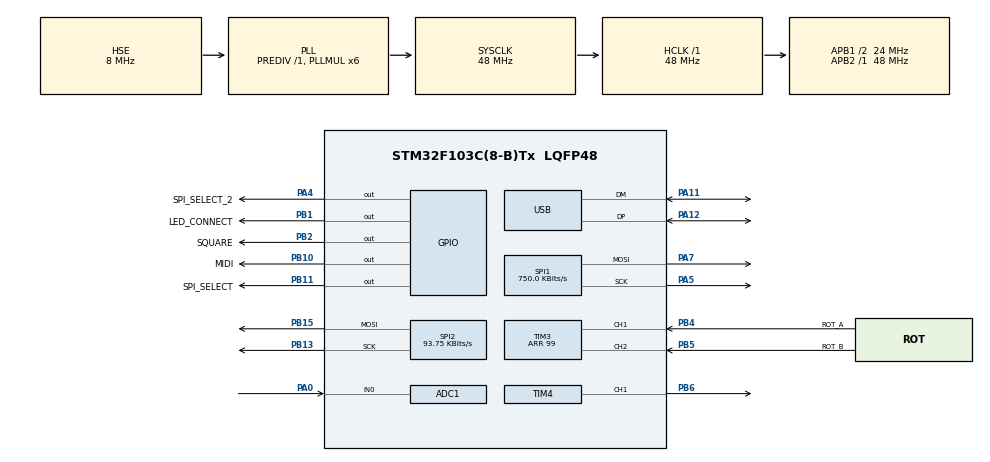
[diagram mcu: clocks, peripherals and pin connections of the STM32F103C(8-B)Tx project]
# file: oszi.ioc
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ADC1.Channel-0\#ChannelRegularConversion=ADC_CHANNEL_0
ADC1.NbrOfConversionFlag=1
ADC1.Rank-0\#ChannelRegularConversion=1
ADC1.SamplingTime-0\#ChannelRegularConversion=ADC_SAMPLETIME_1CYCLE_5
ADC1.master=1
Mcu.Family=STM32F1
Mcu.Name=STM32F103C(8-B)Tx
Mcu.Package=LQFP48
NVIC.ADC1_2_IRQn=true\:0\:0\:false\:false\:true\:true\:true\:true
NVIC.PriorityGroup=NVIC_PRIORITYGROUP_4
NVIC.TIM2_IRQn=true\:0\:0\:false\:false\:true\:true\:true\:true
NVIC.TIM3_IRQn=true\:0\:0\:false\:false\:true\:true\:true\:true
NVIC.USB_LP_CAN1_RX0_IRQn=true\:0\:0\:false\:false\:true\:false\:true\:true
PA0-WKUP.Signal=ADCx_IN0
PA11.Mode=Device
PA11.Signal=USB_DM
PA12.Mode=Device
PA12.Signal=USB_DP
PA13.Mode=Serial_Wire
PA13.Signal=SYS_JTMS-SWDIO
PA14.Mode=Serial_Wire
PA14.Signal=SYS_JTCK-SWCLK
PA4.GPIO_Label=SPI_SELECT_2
PA4.GPIO_PuPd=GPIO_PULLUP
PA4.Signal=GPIO_Output
PA5.Mode=TX_Only_Simplex_Unidirect_Master
PA5.Signal=SPI1_SCK
PA7.Mode=TX_Only_Simplex_Unidirect_Master
PA7.Signal=SPI1_MOSI
PB1.GPIO_Label=LED_CONNECT
PB1.Signal=GPIO_Output
PB10.GPIO_Label=MIDI
PB10.Signal=GPIO_Output
PB11.GPIO_Label=SPI_SELECT
PB11.GPIO_PuPd=GPIO_PULLUP
PB11.PinState=GPIO_PIN_SET
PB11.Signal=GPIO_Output
PB13.Mode=TX_Only_Simplex_Unidirect_Master
PB13.Signal=SPI2_SCK
PB15.Mode=TX_Only_Simplex_Unidirect_Master
PB15.Signal=SPI2_MOSI
PB2.GPIO_Label=SQUARE
PB2.GPIO_PuPd=GPIO_PULLDOWN
PB2.GPIO_Speed=GPIO_SPEED_FREQ_HIGH
PB2.Signal=GPIO_Output
PB4.GPIO_Label=ROT_A
PB4.Signal=S_TIM3_CH1
PB5.GPIO_Label=ROT_B
PB5.Signal=S_TIM3_CH2
PB6.Signal=S_TIM4_CH1
PC14-OSC32_IN.Mode=LSE-External-Oscillator
PC14-OSC32_IN.Signal=RCC_OSC32_IN
PC15-OSC32_OUT.Mode=LSE-External-Oscillator
PC15-OSC32_OUT.Signal=RCC_OSC32_OUT
PD0-OSC_IN.Mode=HSE-External-Oscillator
PD0-OSC_IN.Signal=RCC_OSC_IN
PD1-OSC_OUT.Mode=HSE-External-Oscillator
PD1-OSC_OUT.Signal=RCC_OSC_OUT
ProjectManager.HeapSize=0x200
ProjectManager.StackSize=0x400
ProjectManager.TargetToolchain=Makefile
RCC.ADCPresc=RCC_ADCPCLK2_DIV4
RCC.AHBFreq_Value=48000000
RCC.APB1CLKDivider=RCC_HCLK_DIV2
RCC.APB1Freq_Value=24000000
RCC.APB1TimFreq_Value=48000000
RCC.APB2Freq_Value=48000000
RCC.APB2TimFreq_Value=48000000
RCC.HCLKFreq_Value=48000000
RCC.PLLMUL=RCC_PLL_MUL6
RCC.SYSCLKFreq_VALUE=48000000
RCC.SYSCLKSource=RCC_SYSCLKSOURCE_PLLCLK
RCC.USBFreq_Value=48000000
SH.ADCx_IN0.0=ADC1_IN0,IN0
SH.S_TIM3_CH1.0=TIM3_CH1,Encoder_Interface
SH.S_TIM3_CH2.0=TIM3_CH2,Encoder_Interface
SH.S_TIM4_CH1.0=TIM4_CH1,PWM Generation1 CH1
SPI1.BaudRatePrescaler=SPI_BAUDRATEPRESCALER_64
SPI1.CalculateBaudRate=750.0 KBits/s
SPI1.DataSize=SPI_DATASIZE_16BIT
SPI1.Direction=SPI_DIRECTION_2LINES
SPI1.Mode=SPI_MODE_MASTER
SPI1.VirtualType=VM_MASTER
SPI2.BaudRatePrescaler=SPI_BAUDRATEPRESCALER_256
SPI2.CLKPolarity=SPI_POLARITY_HIGH
SPI2.CalculateBaudRate=93.75 KBits/s
SPI2.DataSize=SPI_DATASIZE_8BIT
SPI2.Direction=SPI_DIRECTION_2LINES
SPI2.Mode=SPI_MODE_MASTER
SPI2.VirtualType=VM_MASTER
TIM2.AutoReloadPreload=TIM_AUTORELOAD_PRELOAD_ENABLE
TIM2.Period=1000
TIM2.Prescaler=48
TIM3.Period=99
TIM4.AutoReloadPreload=TIM_AUTORELOAD_PRELOAD_ENABLE
TIM4.Channel-PWM\ Generation1\ CH1=TIM_CHANNEL_1
TIM4.OCFastMode_PWM-PWM\ Generation1\ CH1=TIM_OCFAST_ENABLE
TIM4.Period=1136 -1
TIM4.Prescaler=96 - 1
TIM4.Pulse-PWM\ Generation1\ CH1=10
TIM4.TIM_MasterOutputTrigger=TIM_TRGO_UPDATE
USB_DEVICE.CLASS_NAME_FS=CDC
USB_DEVICE.MANUFACTURER_STRING=elektrophon
USB_DEVICE.PRODUCT_STRING_CDC_FS=oszillator
USB_DEVICE.VirtualMode=Cdc
USB_DEVICE.VirtualModeFS=Cdc_FS
VP_TIM2_VS_ClockSourceINT.Mode=Internal
VP_TIM4_VS_ClockSourceINT.Mode=Internal
VP_USB_DEVICE_VS_USB_DEVICE_CDC_FS.Mode=CDC_FS
board=custom

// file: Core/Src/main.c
/* USER CODE BEGIN Header */
/**
  ******************************************************************************
  * @file           : main.c
  * @brief          : Main program body
  ******************************************************************************
  * @attention
  *
  * <h2><center>&copy; Copyright (c) 2021 STMicroelectronics.
  * All rights reserved.</center></h2>
  *
  * This software component is licensed by ST under Ultimate Liberty license
  * SLA0044, the "License"; You may not use this file except in compliance with
  * the License. You may obtain a copy of the License at:
  *                             www.st.com/SLA0044
  *
  ******************************************************************************
  */
/* USER CODE END Header */
#include "main.h"
#include "usb_device.h"

/* USER CODE BEGIN Includes */
#include "usbd_midi_if.h"
#include <math.h>
#include <stdint.h>
/* USER CODE END Includes */

/* USER CODE BEGIN PTD */
#define SPI_DAC_MULTIPLIER 0.552824907636779 // see spreadsheet
extern USBD_HandleTypeDef hUsbDeviceFS;
/* USER CODE END PTD */

ADC_HandleTypeDef hadc1;

SPI_HandleTypeDef hspi1;
SPI_HandleTypeDef hspi2;

TIM_HandleTypeDef htim2;
TIM_HandleTypeDef htim3;
TIM_HandleTypeDef htim4;

/* USER CODE BEGIN PV */
uint8_t rot_old_state = 0, rot_new_state = 0;
uint32_t rot_cnt = 0;
/* USER CODE END PV */

void SystemClock_Config(void);
static void MX_GPIO_Init(void);
static void MX_TIM4_Init(void);
static void MX_TIM2_Init(void);
static void MX_ADC1_Init(void);
static void MX_SPI1_Init(void);
static void MX_SPI2_Init(void);
static void MX_TIM3_Init(void);

/* USER CODE BEGIN 0 */
void write_led(uint8_t _freq) {
  /* float value = SPI_DAC_MULTIPLIER * _freq; */
  uint16_t word[1];
  word[0] = _freq;
  word[0] |= 0xff00;

  // write data to register
  HAL_GPIO_WritePin (SPI_SELECT_2_GPIO_Port, SPI_SELECT_2_Pin, GPIO_PIN_RESET);  // pull the cs pin low
  if (HAL_SPI_Transmit (&hspi2, (uint8_t *)word, 1, 100) != HAL_OK) {
    Error_Handler();
  }
  HAL_GPIO_WritePin (SPI_SELECT_2_GPIO_Port, SPI_SELECT_2_Pin, GPIO_PIN_SET);  // pull the cs pin high
}
void write_dac(float _freq) {
  float value = SPI_DAC_MULTIPLIER * _freq;
  uint16_t word[1];
  word[0] = value;
  word[0] |= 0x1000;

  // write data to register
  HAL_GPIO_WritePin (SPI_SELECT_GPIO_Port, SPI_SELECT_Pin, GPIO_PIN_RESET);  // pull the cs pin low
  if (HAL_SPI_Transmit (&hspi1, (uint8_t *)word, 2, 100) != HAL_OK) {
    Error_Handler();
  }
  HAL_GPIO_WritePin (SPI_SELECT_GPIO_Port, SPI_SELECT_Pin, GPIO_PIN_SET);  // pull the cs pin high
}
void note_on(uint8_t channel, uint8_t note, uint8_t velocity) {
        HAL_GPIO_WritePin(MIDI_GPIO_Port, MIDI_Pin, SET);
         float prescaler = 96;
         float cpu_freq = 48000000;
         float _note = note-69;
         float _freq = pow(2, (_note) / 12) * 440;
         float _arr = (cpu_freq / prescaler) / _freq;
         TIM4->ARR =  ((int)_arr) - 1;
         write_dac(_freq);
         write_led(21);
}
void note_off(uint8_t channel, uint8_t note, uint8_t velocity) {
        HAL_GPIO_WritePin(MIDI_GPIO_Port, MIDI_Pin, RESET);
}
void midi_process() {

	// for( unsigned char i = 0; i<MIDI_CHANNELS; i++ ) {
	// 	if( trigger_timer[i] != 0 && trigger_timer[i] < HAL_GetTick() ) {
	// 		HAL_GPIO_WritePin(SIG_TRIGGER_1_GPIO_Port, SIG_TRIGGER_1_Pin, SET);
	// 		trigger_timer[i] = 0;
	// 	}
	// }
}
//rotary encoder
uint8_t rot_get_state() {
	return (uint8_t)((HAL_GPIO_ReadPin(ROT_B_GPIO_Port, ROT_B_Pin) << 1)
			| (HAL_GPIO_ReadPin(ROT_A_GPIO_Port, ROT_A_Pin)));
}

// External interrupts from rotary encoder
void HAL_GPIO_EXTI_Callback(uint16_t GPIO_Pin) {
	if (GPIO_Pin == ROT_A_Pin || GPIO_Pin == ROT_B_Pin) {

		rot_new_state = rot_get_state();

		DBG("%d:%d", rot_old_state, rot_new_state);

		// Check transition
		if (rot_old_state == 3 && rot_new_state == 2) {        // 3 -> 2 transition
			rot_cnt++;
		} else if (rot_old_state == 2 && rot_new_state == 0) { // 2 -> 0 transition
			rot_cnt++;
		} else if (rot_old_state == 0 && rot_new_state == 1) { // 0 -> 1 transition
			rot_cnt++;
		} else if (rot_old_state == 1 && rot_new_state == 3) { // 1 -> 3 transition
			rot_cnt++;
		} else if (rot_old_state == 3 && rot_new_state == 1) { // 3 -> 1 transition
			rot_cnt--;
		} else if (rot_old_state == 1 && rot_new_state == 0) { // 1 -> 0 transition
			rot_cnt--;
		} else if (rot_old_state == 0 && rot_new_state == 2) { // 0 -> 2 transition
			rot_cnt--;
		} else if (rot_old_state == 2 && rot_new_state == 3) { // 2 -> 3 transition
			rot_cnt--;
		}

		rot_old_state = rot_new_state;
	}
}
/* USER CODE END 0 */

int main(void)
{

  /* MCU Configuration--------------------------------------------------------*/

  /* Reset of all peripherals, Initializes the Flash interface and the Systick. */
  HAL_Init();

  /* Configure the system clock */
  SystemClock_Config();

  /* Initialize all configured peripherals */
  MX_GPIO_Init();
  MX_TIM4_Init();
  MX_USB_DEVICE_Init();
  MX_TIM2_Init();
  MX_ADC1_Init();
  MX_SPI1_Init();
  MX_SPI2_Init();
  MX_TIM3_Init();
  /* USER CODE BEGIN 2 */
  HAL_GPIO_TogglePin(SQUARE_GPIO_Port, SQUARE_Pin);
  HAL_GPIO_WritePin(MIDI_GPIO_Port, MIDI_Pin, SET);
  HAL_GPIO_WritePin(LED_CONNECT_GPIO_Port, LED_CONNECT_Pin, SET);
  HAL_Delay(1000);
  HAL_GPIO_TogglePin(SQUARE_GPIO_Port, SQUARE_Pin);
  HAL_GPIO_WritePin(MIDI_GPIO_Port, MIDI_Pin, RESET);

  mimuz_init();

  //register the MIDI call backs
  setHdlNoteOff(note_off);
  setHdlNoteOn(note_on);

  //  HAL_TIM_Base_Start_IT(&htim4);
  HAL_TIM_Base_Start(&htim4);
  HAL_TIM_PWM_Init(&htim4);
  HAL_TIM_PWM_Start(&htim4, TIM_CHANNEL_1);

  HAL_TIM_Base_Start_IT(&htim2);
  HAL_TIM_Encoder_Start_IT(&htim3, TIM_CHANNEL_ALL);

  /* USER CODE END 2 */

  /* Infinite loop */
  /* USER CODE BEGIN WHILE */
  uint16_t display = 0;
  while (1)
  {
    /* USER CODE END WHILE */

    /* USER CODE BEGIN 3 */
    /* write_led(display++);
    HAL_Delay(1000); */
  }
  /* USER CODE END 3 */
}

void SystemClock_Config(void)
{
  RCC_OscInitTypeDef RCC_OscInitStruct = {0};
  RCC_ClkInitTypeDef RCC_ClkInitStruct = {0};
  RCC_PeriphCLKInitTypeDef PeriphClkInit = {0};

  /** Initializes the RCC Oscillators according to the specified parameters
  * in the RCC_OscInitTypeDef structure.
  */
  RCC_OscInitStruct.OscillatorType = RCC_OSCILLATORTYPE_HSE;
  RCC_OscInitStruct.HSEState = RCC_HSE_ON;
  RCC_OscInitStruct.HSEPredivValue = RCC_HSE_PREDIV_DIV1;
  RCC_OscInitStruct.HSIState = RCC_HSI_ON;
  RCC_OscInitStruct.PLL.PLLState = RCC_PLL_ON;
  RCC_OscInitStruct.PLL.PLLSource = RCC_PLLSOURCE_HSE;
  RCC_OscInitStruct.PLL.PLLMUL = RCC_PLL_MUL6;
  if (HAL_RCC_OscConfig(&RCC_OscInitStruct) != HAL_OK)
  {
    Error_Handler();
  }

  /** Initializes the CPU, AHB and APB buses clocks
  */
  RCC_ClkInitStruct.ClockType = RCC_CLOCKTYPE_HCLK|RCC_CLOCKTYPE_SYSCLK
                              |RCC_CLOCKTYPE_PCLK1|RCC_CLOCKTYPE_PCLK2;
  RCC_ClkInitStruct.SYSCLKSource = RCC_SYSCLKSOURCE_PLLCLK;
  RCC_ClkInitStruct.AHBCLKDivider = RCC_SYSCLK_DIV1;
  RCC_ClkInitStruct.APB1CLKDivider = RCC_HCLK_DIV2;
  RCC_ClkInitStruct.APB2CLKDivider = RCC_HCLK_DIV1;

  if (HAL_RCC_ClockConfig(&RCC_ClkInitStruct, FLASH_LATENCY_1) != HAL_OK)
  {
    Error_Handler();
  }
  PeriphClkInit.PeriphClockSelection = RCC_PERIPHCLK_ADC|RCC_PERIPHCLK_USB;
  PeriphClkInit.AdcClockSelection = RCC_ADCPCLK2_DIV4;
  PeriphClkInit.UsbClockSelection = RCC_USBCLKSOURCE_PLL;
  if (HAL_RCCEx_PeriphCLKConfig(&PeriphClkInit) != HAL_OK)
  {
    Error_Handler();
  }
}

static void MX_ADC1_Init(void)
{

  ADC_ChannelConfTypeDef sConfig = {0};

  /** Common config
  */
  hadc1.Instance = ADC1;
  hadc1.Init.ScanConvMode = ADC_SCAN_DISABLE;
  hadc1.Init.ContinuousConvMode = DISABLE;
  hadc1.Init.DiscontinuousConvMode = DISABLE;
  hadc1.Init.ExternalTrigConv = ADC_SOFTWARE_START;
  hadc1.Init.DataAlign = ADC_DATAALIGN_RIGHT;
  hadc1.Init.NbrOfConversion = 1;
  if (HAL_ADC_Init(&hadc1) != HAL_OK)
  {
    Error_Handler();
  }

  /** Configure Regular Channel
  */
  sConfig.Channel = ADC_CHANNEL_0;
  sConfig.Rank = ADC_REGULAR_RANK_1;
  sConfig.SamplingTime = ADC_SAMPLETIME_1CYCLE_5;
  if (HAL_ADC_ConfigChannel(&hadc1, &sConfig) != HAL_OK)
  {
    Error_Handler();
  }

}

static void MX_SPI1_Init(void)
{

  /* SPI1 parameter configuration*/
  hspi1.Instance = SPI1;
  hspi1.Init.Mode = SPI_MODE_MASTER;
  hspi1.Init.Direction = SPI_DIRECTION_2LINES;
  hspi1.Init.DataSize = SPI_DATASIZE_16BIT;
  hspi1.Init.CLKPolarity = SPI_POLARITY_LOW;
  hspi1.Init.CLKPhase = SPI_PHASE_1EDGE;
  hspi1.Init.NSS = SPI_NSS_SOFT;
  hspi1.Init.BaudRatePrescaler = SPI_BAUDRATEPRESCALER_64;
  hspi1.Init.FirstBit = SPI_FIRSTBIT_MSB;
  hspi1.Init.TIMode = SPI_TIMODE_DISABLE;
  hspi1.Init.CRCCalculation = SPI_CRCCALCULATION_DISABLE;
  hspi1.Init.CRCPolynomial = 10;
  if (HAL_SPI_Init(&hspi1) != HAL_OK)
  {
    Error_Handler();
  }

}

static void MX_SPI2_Init(void)
{

  /* SPI2 parameter configuration*/
  hspi2.Instance = SPI2;
  hspi2.Init.Mode = SPI_MODE_MASTER;
  hspi2.Init.Direction = SPI_DIRECTION_2LINES;
  hspi2.Init.DataSize = SPI_DATASIZE_8BIT;
  hspi2.Init.CLKPolarity = SPI_POLARITY_HIGH;
  hspi2.Init.CLKPhase = SPI_PHASE_1EDGE;
  hspi2.Init.NSS = SPI_NSS_SOFT;
  hspi2.Init.BaudRatePrescaler = SPI_BAUDRATEPRESCALER_256;
  hspi2.Init.FirstBit = SPI_FIRSTBIT_MSB;
  hspi2.Init.TIMode = SPI_TIMODE_DISABLE;
  hspi2.Init.CRCCalculation = SPI_CRCCALCULATION_DISABLE;
  hspi2.Init.CRCPolynomial = 10;
  if (HAL_SPI_Init(&hspi2) != HAL_OK)
  {
    Error_Handler();
  }

}

static void MX_TIM2_Init(void)
{

  TIM_ClockConfigTypeDef sClockSourceConfig = {0};
  TIM_MasterConfigTypeDef sMasterConfig = {0};

  htim2.Instance = TIM2;
  htim2.Init.Prescaler = 48;
  htim2.Init.CounterMode = TIM_COUNTERMODE_UP;
  htim2.Init.Period = 1000;
  htim2.Init.ClockDivision = TIM_CLOCKDIVISION_DIV1;
  htim2.Init.AutoReloadPreload = TIM_AUTORELOAD_PRELOAD_ENABLE;
  if (HAL_TIM_Base_Init(&htim2) != HAL_OK)
  {
    Error_Handler();
  }
  sClockSourceConfig.ClockSource = TIM_CLOCKSOURCE_INTERNAL;
  if (HAL_TIM_ConfigClockSource(&htim2, &sClockSourceConfig) != HAL_OK)
  {
    Error_Handler();
  }
  sMasterConfig.MasterOutputTrigger = TIM_TRGO_RESET;
  sMasterConfig.MasterSlaveMode = TIM_MASTERSLAVEMODE_DISABLE;
  if (HAL_TIMEx_MasterConfigSynchronization(&htim2, &sMasterConfig) != HAL_OK)
  {
    Error_Handler();
  }

}

static void MX_TIM3_Init(void)
{

  TIM_Encoder_InitTypeDef sConfig = {0};
  TIM_MasterConfigTypeDef sMasterConfig = {0};

  htim3.Instance = TIM3;
  htim3.Init.Prescaler = 0;
  htim3.Init.CounterMode = TIM_COUNTERMODE_UP;
  htim3.Init.Period = 99;
  htim3.Init.ClockDivision = TIM_CLOCKDIVISION_DIV1;
  htim3.Init.AutoReloadPreload = TIM_AUTORELOAD_PRELOAD_DISABLE;
  sConfig.EncoderMode = TIM_ENCODERMODE_TI1;
  sConfig.IC1Polarity = TIM_ICPOLARITY_RISING;
  sConfig.IC1Selection = TIM_ICSELECTION_DIRECTTI;
  sConfig.IC1Prescaler = TIM_ICPSC_DIV1;
  sConfig.IC1Filter = 0;
  sConfig.IC2Polarity = TIM_ICPOLARITY_RISING;
  sConfig.IC2Selection = TIM_ICSELECTION_DIRECTTI;
  sConfig.IC2Prescaler = TIM_ICPSC_DIV1;
  sConfig.IC2Filter = 0;
  if (HAL_TIM_Encoder_Init(&htim3, &sConfig) != HAL_OK)
  {
    Error_Handler();
  }
  sMasterConfig.MasterOutputTrigger = TIM_TRGO_RESET;
  sMasterConfig.MasterSlaveMode = TIM_MASTERSLAVEMODE_DISABLE;
  if (HAL_TIMEx_MasterConfigSynchronization(&htim3, &sMasterConfig) != HAL_OK)
  {
    Error_Handler();
  }

}

static void MX_TIM4_Init(void)
{

  TIM_ClockConfigTypeDef sClockSourceConfig = {0};
  TIM_MasterConfigTypeDef sMasterConfig = {0};
  TIM_OC_InitTypeDef sConfigOC = {0};

  htim4.Instance = TIM4;
  htim4.Init.Prescaler = 96 - 1;
  htim4.Init.CounterMode = TIM_COUNTERMODE_UP;
  htim4.Init.Period = 1136 -1;
  htim4.Init.ClockDivision = TIM_CLOCKDIVISION_DIV1;
  htim4.Init.AutoReloadPreload = TIM_AUTORELOAD_PRELOAD_ENABLE;
  if (HAL_TIM_Base_Init(&htim4) != HAL_OK)
  {
    Error_Handler();
  }
  sClockSourceConfig.ClockSource = TIM_CLOCKSOURCE_INTERNAL;
  if (HAL_TIM_ConfigClockSource(&htim4, &sClockSourceConfig) != HAL_OK)
  {
    Error_Handler();
  }
  if (HAL_TIM_PWM_Init(&htim4) != HAL_OK)
  {
    Error_Handler();
  }
  sMasterConfig.MasterOutputTrigger = TIM_TRGO_UPDATE;
  sMasterConfig.MasterSlaveMode = TIM_MASTERSLAVEMODE_DISABLE;
  if (HAL_TIMEx_MasterConfigSynchronization(&htim4, &sMasterConfig) != HAL_OK)
  {
    Error_Handler();
  }
  sConfigOC.OCMode = TIM_OCMODE_PWM1;
  sConfigOC.Pulse = 10;
  sConfigOC.OCPolarity = TIM_OCPOLARITY_HIGH;
  sConfigOC.OCFastMode = TIM_OCFAST_ENABLE;
  if (HAL_TIM_PWM_ConfigChannel(&htim4, &sConfigOC, TIM_CHANNEL_1) != HAL_OK)
  {
    Error_Handler();
  }
  HAL_TIM_MspPostInit(&htim4);

}

static void MX_GPIO_Init(void)
{
  GPIO_InitTypeDef GPIO_InitStruct = {0};

  /* GPIO Ports Clock Enable */
  __HAL_RCC_GPIOC_CLK_ENABLE();
  __HAL_RCC_GPIOD_CLK_ENABLE();
  __HAL_RCC_GPIOA_CLK_ENABLE();
  __HAL_RCC_GPIOB_CLK_ENABLE();

  /*Configure GPIO pin Output Level */
  HAL_GPIO_WritePin(SPI_SELECT_2_GPIO_Port, SPI_SELECT_2_Pin, GPIO_PIN_RESET);

  /*Configure GPIO pin Output Level */
  HAL_GPIO_WritePin(GPIOB, LED_CONNECT_Pin|SQUARE_Pin|MIDI_Pin, GPIO_PIN_RESET);

  /*Configure GPIO pin Output Level */
  HAL_GPIO_WritePin(SPI_SELECT_GPIO_Port, SPI_SELECT_Pin, GPIO_PIN_SET);

  /*Configure GPIO pin : SPI_SELECT_2_Pin */
  GPIO_InitStruct.Pin = SPI_SELECT_2_Pin;
  GPIO_InitStruct.Mode = GPIO_MODE_OUTPUT_PP;
  GPIO_InitStruct.Pull = GPIO_PULLUP;
  GPIO_InitStruct.Speed = GPIO_SPEED_FREQ_LOW;
  HAL_GPIO_Init(SPI_SELECT_2_GPIO_Port, &GPIO_InitStruct);

  /*Configure GPIO pins : LED_CONNECT_Pin MIDI_Pin */
  GPIO_InitStruct.Pin = LED_CONNECT_Pin|MIDI_Pin;
  GPIO_InitStruct.Mode = GPIO_MODE_OUTPUT_PP;
  GPIO_InitStruct.Pull = GPIO_NOPULL;
  GPIO_InitStruct.Speed = GPIO_SPEED_FREQ_LOW;
  HAL_GPIO_Init(GPIOB, &GPIO_InitStruct);

  /*Configure GPIO pin : SQUARE_Pin */
  GPIO_InitStruct.Pin = SQUARE_Pin;
  GPIO_InitStruct.Mode = GPIO_MODE_OUTPUT_PP;
  GPIO_InitStruct.Pull = GPIO_PULLDOWN;
  GPIO_InitStruct.Speed = GPIO_SPEED_FREQ_HIGH;
  HAL_GPIO_Init(SQUARE_GPIO_Port, &GPIO_InitStruct);

  /*Configure GPIO pin : SPI_SELECT_Pin */
  GPIO_InitStruct.Pin = SPI_SELECT_Pin;
  GPIO_InitStruct.Mode = GPIO_MODE_OUTPUT_PP;
  GPIO_InitStruct.Pull = GPIO_PULLUP;
  GPIO_InitStruct.Speed = GPIO_SPEED_FREQ_LOW;
  HAL_GPIO_Init(SPI_SELECT_GPIO_Port, &GPIO_InitStruct);

}

void Error_Handler(void)
{
  __disable_irq();
  while (1)
  {
  }
}
